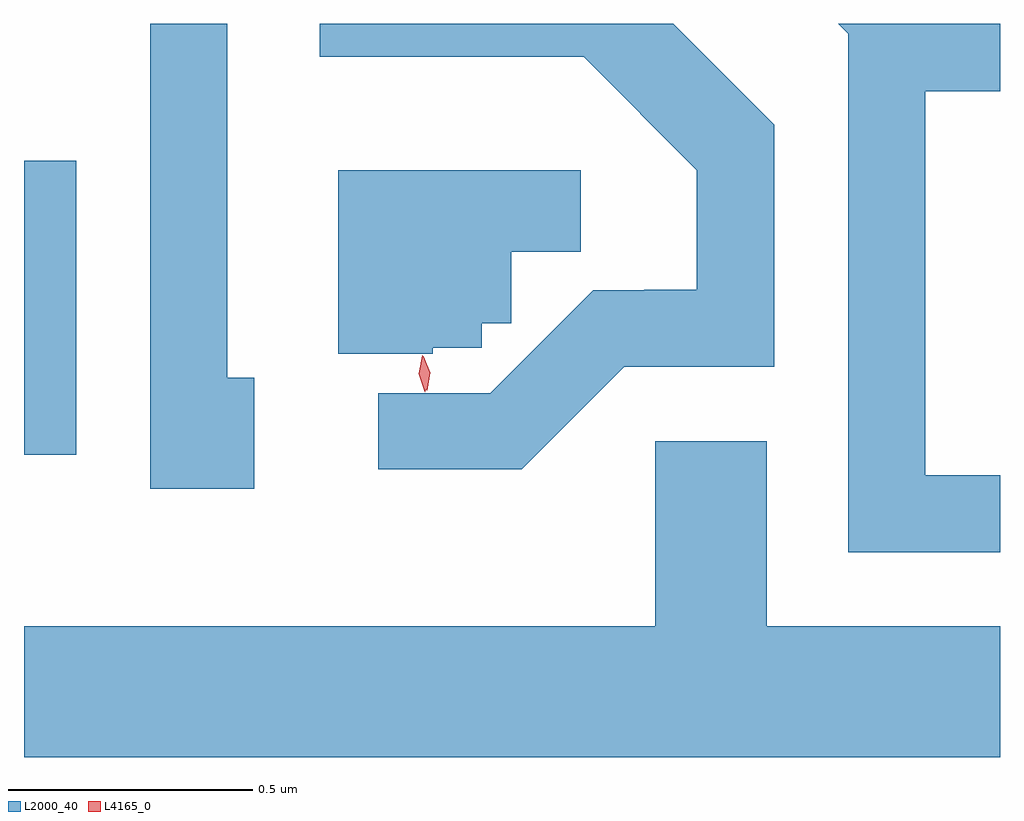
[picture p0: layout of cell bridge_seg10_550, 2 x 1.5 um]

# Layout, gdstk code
import gdstk
lib = gdstk.Library(unit=1e-6, precision=1e-09)
def R(c, l, rs):  # rectangles x0, y0, x1, y1
    for r in rs: c.add(gdstk.rectangle(r[:2], r[2:], *l))
def P(c, l, *ps):  # polygons
    for p in ps: c.add(gdstk.Polygon(p, *l))
L2000_40 = (2000, 40)
L4165_0 = (4165, 0)

bridge_seg10_550 = lib.new_cell('bridge_seg10_550')
R(bridge_seg10_550, L2000_40, [(830.277,2192.236,830.384,2192.838)])
P(bridge_seg10_550, L2000_40, [(831.507,2192.416),(831.814,2192.416),(831.814,2192.912),(831.607,2193.119),(830.883,2193.119),(830.883,2193.051),(831.424,2193.051),(831.656,2192.819),(831.656,2192.574),(831.548,2192.574),(831.548,2192.573),(831.443,2192.573),(831.232,2192.362),(831.003,2192.362),(831.003,2192.206),(831.297,2192.206)],
  [(830.749,2192.394),(830.694,2192.394),(830.694,2193.119),(830.536,2193.119),(830.536,2192.166),(830.749,2192.166)],
  [(832.277,2192.194),(832.124,2192.194),(832.124,2192.981),(832.277,2192.981),(832.277,2193.119),(831.946,2193.119),(831.966,2193.099),(831.966,2192.036),(832.277,2192.036)],
  [(831.115,2192.455),(831.215,2192.455),(831.215,2192.505),(831.275,2192.505),(831.275,2192.652),(831.418,2192.652),(831.418,2192.819),(830.921,2192.819),(830.921,2192.443),(831.115,2192.443)],
  [(832.277,2191.884),(831.799,2191.884),(831.799,2192.264),(831.571,2192.264),(831.571,2191.884),(830.277,2191.884),(830.277,2191.616),(832.277,2191.616)])
P(bridge_seg10_550, L4165_0, [(831.098,2192.365),(831.086,2192.402),(831.093,2192.439),(831.093,2192.44),(831.094,2192.439),(831.106,2192.403),(831.099,2192.365),(831.099,2192.365)],
  [(831.102,2192.368),(831.102,2192.368),(831.089,2192.402),(831.095,2192.437),(831.096,2192.438),(831.096,2192.437),(831.109,2192.404),(831.103,2192.368)])

lib.write_gds('bridge_seg10_550.gds')
